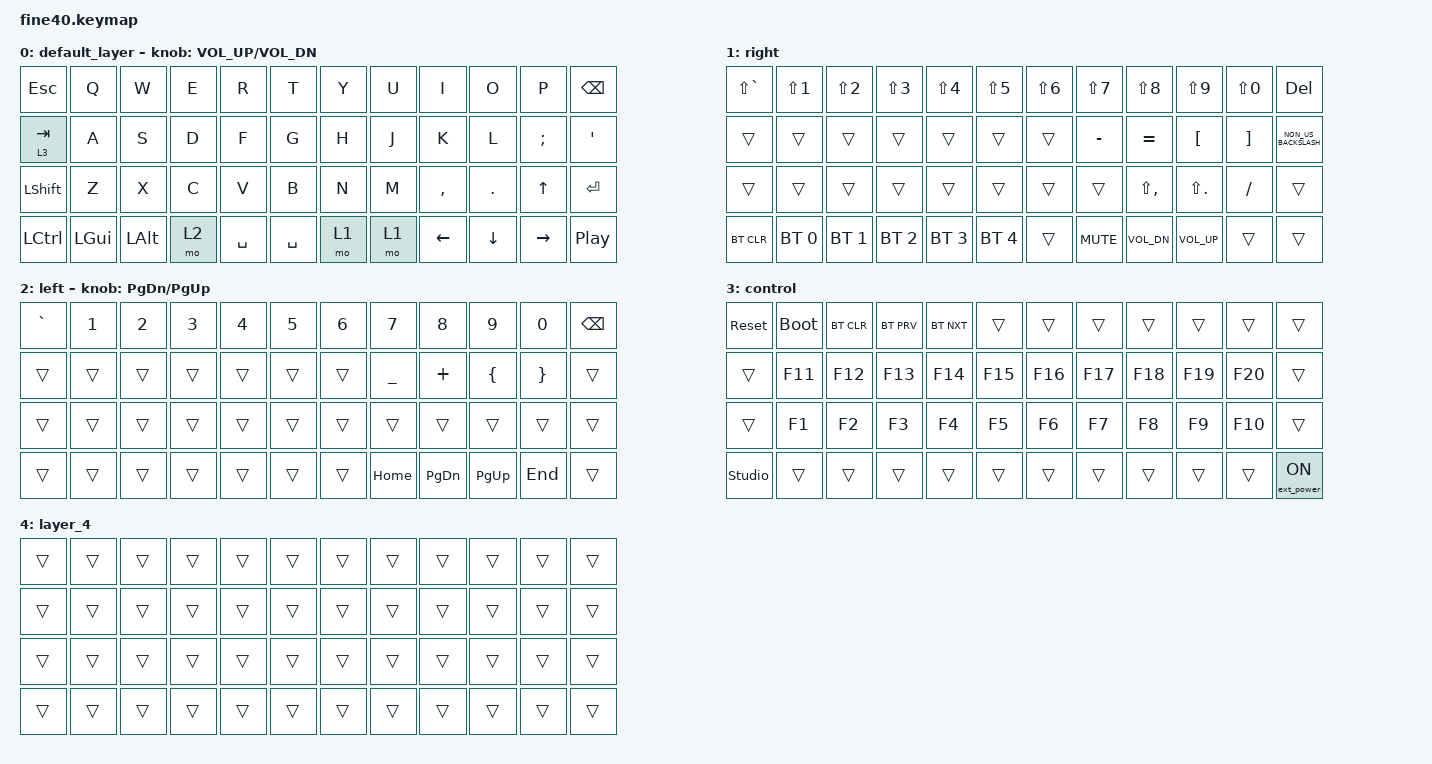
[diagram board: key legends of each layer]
/*
 * Aidan Smith (2021)
 *
 * SPDX-License-Identifier: MIT
 */

#include <behaviors.dtsi>
#include <dt-bindings/zmk/bt.h>
#include <dt-bindings/zmk/ext_power.h>
#include <dt-bindings/zmk/keys.h>

/ {
    keymap {
        compatible = "zmk,keymap";

        default_layer {
            bindings = <
&kp ESC    &kp Q     &kp W     &kp E  &kp R      &kp T      &kp Y  &kp U  &kp I      &kp O     &kp P         &kp BSPC
&lt 3 TAB  &kp A     &kp S     &kp D  &kp F      &kp G      &kp H  &kp J  &kp K      &kp L     &kp SEMI      &kp SQT
&kp LSHFT  &kp Z     &kp X     &kp C  &kp V      &kp B      &kp N  &kp M  &kp COMMA  &kp DOT   &kp UP_ARROW  &kp RET
&kp LCTRL  &kp LGUI  &kp LALT  &mo 2  &kp SPACE  &kp SPACE  &mo 1  &mo 1  &kp LEFT   &kp DOWN  &kp RIGHT     &kp C_PP
            >;

            sensor-bindings = <&inc_dec_kp C_VOL_UP C_VOL_DN>;
        };

        right {
            bindings = <
&kp LS(GRAVE)  &kp LS(N1)    &kp LS(N2)    &kp LS(N3)    &kp LS(N4)    &kp LS(N5)    &kp LS(N6)  &kp LS(N7)  &kp LS(N8)     &kp LS(N9)    &kp LS(N0)  &kp DEL
&trans         &trans        &trans        &trans        &trans        &trans        &trans      &kp MINUS   &kp EQUAL      &kp LBKT      &kp RBKT    &kp NON_US_BACKSLASH
&trans         &trans        &trans        &trans        &trans        &trans        &trans      &trans      &kp LS(COMMA)  &kp LS(DOT)   &kp SLASH   &trans
&bt BT_CLR     &bt BT_SEL 0  &bt BT_SEL 1  &bt BT_SEL 2  &bt BT_SEL 3  &bt BT_SEL 4  &trans      &kp C_MUTE  &kp C_VOL_DN   &kp C_VOL_UP  &trans      &trans
            >;
        };

        left {
            bindings = <
&kp GRAVE  &kp N1  &kp N2  &kp N3  &kp N4  &kp N5  &kp N6  &kp N7     &kp N8     &kp N9     &kp N0    &kp BSPC
&trans     &trans  &trans  &trans  &trans  &trans  &trans  &kp UNDER  &kp PLUS   &kp LBRC   &kp RBRC  &trans
&trans     &trans  &trans  &trans  &trans  &trans  &trans  &trans     &trans     &trans     &trans    &trans
&trans     &trans  &trans  &trans  &trans  &trans  &trans  &kp HOME   &kp PG_DN  &kp PG_UP  &kp END   &trans
            >;

            sensor-bindings = <&inc_dec_kp PAGE_DOWN PAGE_UP>;
        };

        control {
            bindings = <
&sys_reset      &bootloader  &bt BT_CLR  &bt BT_PRV  &bt BT_NXT  &trans   &trans   &trans   &trans   &trans   &trans   &trans
&trans          &kp F11      &kp F12     &kp F13     &kp F14     &kp F15  &kp F16  &kp F17  &kp F18  &kp F19  &kp F20  &trans
&trans          &kp F1       &kp F2      &kp F3      &kp F4      &kp F5   &kp F6   &kp F7   &kp F8   &kp F9   &kp F10  &trans
&studio_unlock  &trans       &trans      &trans      &trans      &trans   &trans   &trans   &trans   &trans   &trans   &ext_power EP_ON
            >;
        };

        layer_4 {
            bindings = <
&trans  &trans  &trans  &trans  &trans  &trans  &trans  &trans  &trans  &trans  &trans  &trans
&trans  &trans  &trans  &trans  &trans  &trans  &trans  &trans  &trans  &trans  &trans  &trans
&trans  &trans  &trans  &trans  &trans  &trans  &trans  &trans  &trans  &trans  &trans  &trans
&trans  &trans  &trans  &trans  &trans  &trans  &trans  &trans  &trans  &trans  &trans  &trans
            >;
        };
    };
};
